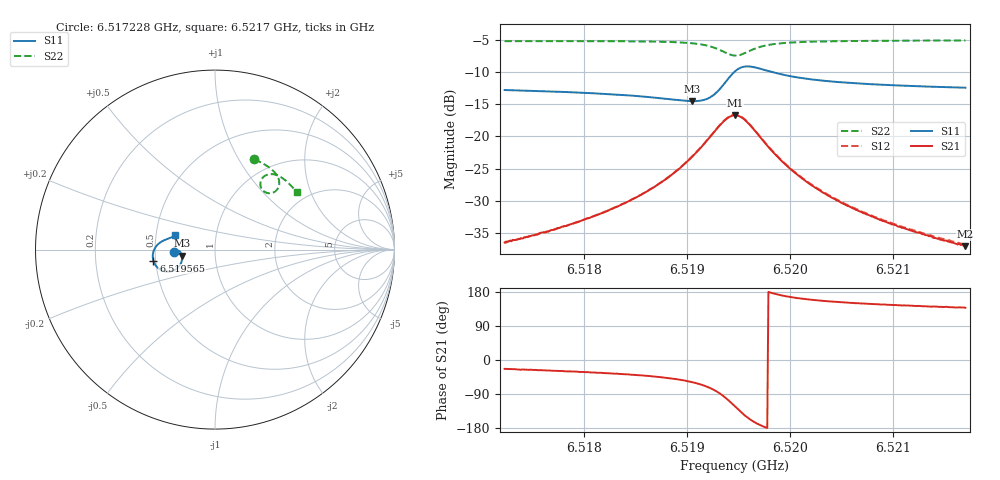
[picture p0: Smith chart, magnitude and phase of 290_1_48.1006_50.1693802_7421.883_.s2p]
#  HZ  S  RI  R  50.00
! Rohde & Schwarz Vector Network Analyzer
! Rohde-Schwarz,ZNB20-2Port,1311601062101988,3.16
! Created: UTC 12/23/2023, 4:03:39 AM
! freq[Hz]  re:S11  im:S11  re:S21  im:S21  re:S12  im:S12  re:S22  im:S22
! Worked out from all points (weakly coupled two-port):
!   401 points, 6.517228 GHz to 6.5217 GHz, reference 50 ohm
!   highest |S21| = -16.72 dB at 6.519464 GHz (marker M1); lowest = -37.1 dB at 6.5217 GHz (marker M2)
!   lowest |S11| = -14.5 dB at 6.51905 GHz (marker M3), VSWR 1.46, Z = 34.3 - j2.39 ohm
!   |S11| at or under -10 dB: start of sweep to 6.519457 GHz; 6.519823 GHz to end of sweep
!   |S22| runs from -7.5 to -5.1 dB; largest |S21 - S12| = 0.0045
!   S11 on the Smith chart (normalised r, x): 6.517228 GHz: 0.63, -0.02; 6.519565 GHz: 0.49, -0.07; 6.5217 GHz: 0.63, +0.11
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6.5172279e9  -0.2288 -0.0124  0.0138 -0.00598  0.0139 -0.00553  0.2196 0.5029
6.5176416e9  -0.2237 -0.00665  0.0162 -0.00851  0.0164 -0.00787  0.2499 0.4888
6.517977e9  -0.2183 -0.00333  0.019 -0.0116  0.0193 -0.011  0.2747 0.4752
6.518413e9  -0.2086 -0.00232  0.0243 -0.0189  0.025 -0.0182  0.3075 0.4531
6.5187261e9  -0.1983 -0.00801  0.0304 -0.0302  0.0313 -0.0293  0.3319 0.4309
6.5189161e9  -0.1902 -0.0186  0.0346 -0.0433  0.0362 -0.0427  0.3467 0.4109
6.5190503e9  -0.1847 -0.0336  0.0365 -0.0594  0.0385 -0.0587  0.3555 0.3913
6.5191621e9  -0.1837 -0.055  0.0335 -0.0803  0.0361 -0.0798  0.3584 0.3677
6.5192404e9  -0.1902 -0.0773  0.0243 -0.1002  0.0277 -0.1003  0.3535 0.3471
6.5192963e9  -0.2024 -0.096  0.0107 -0.1161  0.0143 -0.1168  0.3435 0.3314
6.5193745e9  -0.2375 -0.1188  -0.0241 -0.1331  -0.0205 -0.1349  0.316 0.315
6.519464e9  -0.2987 -0.1147  -0.0784 -0.123  -0.0755 -0.1263  0.2734 0.3236
6.5195087e9  -0.3251 -0.095  -0.0997 -0.1027  -0.0975 -0.1064  0.2585 0.3411
6.5195646e9  -0.3434 -0.0616  -0.1121 -0.0717  -0.1112 -0.0755  0.2525 0.3671
6.5196764e9  -0.3408 -0.00414  -0.1035 -0.0228  -0.1036 -0.0259  0.27 0.4048
6.5197994e9  -0.3187 0.0287  -0.0807 0.00181  -0.0816 -0.000521  0.2986 0.4194
6.5199894e9  -0.2907 0.0485  -0.0554 0.0131  -0.0564 0.0116  0.3325 0.4186
6.520213e9  -0.2707 0.057  -0.0385 0.015  -0.0395 0.014  0.3597 0.408
6.5205484e9  -0.2533 0.0635  -0.0256 0.0138  -0.0264 0.0132  0.3887 0.3887
6.5209621e9  -0.2403 0.0693  -0.0174 0.012  -0.0181 0.0116  0.4164 0.364
6.521331e9  -0.2322 0.0744  -0.0134 0.0106  -0.0139 0.0103  0.4372 0.3414
6.5217e9  -0.2253 0.0793  -0.0104 0.00944  -0.011 0.00941  0.4557 0.3184
